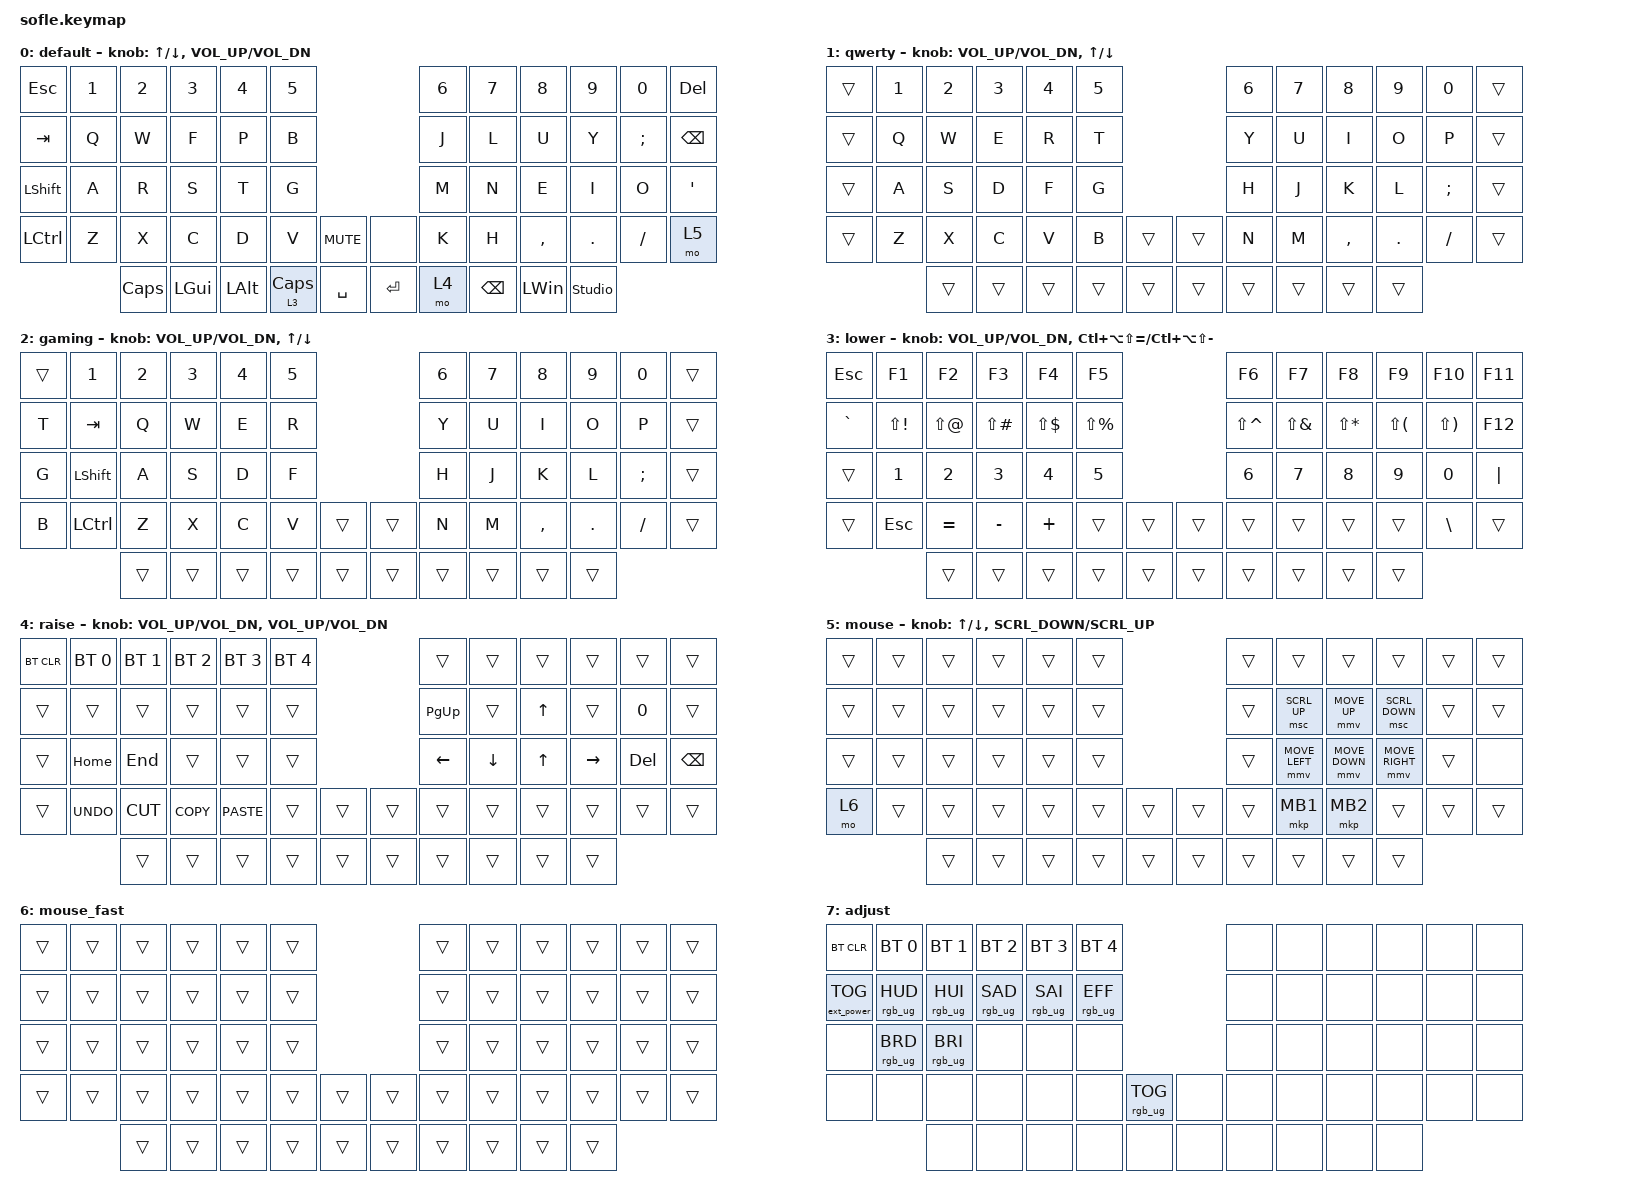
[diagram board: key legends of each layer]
/*
 * Copyright (c) 2020 The ZMK Contributors
 *
 * SPDX-License-Identifier: MIT
 */

#define ZMK_POINTING_DEFAULT_MOVE_VAL 900  // default: 600
#define ZMK_POINTING_DEFAULT_SCRL_VAL 1500    // default: 10 (If you enabled smooth scrolling then you will want to use the same MOVE_UP, MOVE_DOWN, etc values instead of the smaller SCRL_* parameters for more sensible scroll speeds.)

#include <input/processors.dtsi>
#include <behaviors.dtsi>
#include <dt-bindings/zmk/bt.h>
#include <dt-bindings/zmk/ext_power.h>
#include <dt-bindings/zmk/keys.h>
#include <dt-bindings/zmk/pointing.h>
#include <dt-bindings/zmk/rgb.h>

#define BASE 0
#define LOWER 1
#define RAISE 2
#define ADJUST 3

&mmv {
    acceleration-exponent = <0>;
    trigger-period-ms = <1>;
};

&msc {
    acceleration-exponent = <0>;
    trigger-period-ms = <1>;
    time-to-max-speed-ms = <1>;
};

&mmv_input_listener {
    mouse_move {
        layers = <5>;
        input-processors = <&zip_xy_scaler 3 1>;
        process-next;
    };
};

&sensors { triggers-per-rotation = <20>; };

&left_encoder { steps = <80>; };

/ {
    behaviors {
        raise_layer_holdtap_tog: raise_layer_holdtap_tog {
            compatible = "zmk,behavior-hold-tap";
            label = "RAISE_LAYER_HOLDTAP_TOG";
            bindings = <&mo>, <&tog>;

            #binding-cells = <2>;
            tapping-term-ms = <200>;
        };

        inc_dec_scroll: inc_dec_scroll {
            compatible = "zmk,behavior-sensor-rotate-var";
            label = "INC_DEC_SCROLL";
            #sensor-binding-cells = <2>;
            bindings = <&msc>, <&msc>;

            tap-ms = <10>;
        };
    };

    // Activate ADJUST layer by pressing raise and lower

    conditional_layers {
        compatible = "zmk,conditional-layers";

        adjust_layer {
            if-layers = <3 4>;
            then-layer = <7>;
        };
    };

    combos {
        compatible = "zmk,combos";

        qwerty_tog {
            bindings = <&tog 1>;
            key-positions = <3 4>;
        };

        underscore {
            bindings = <&kp UNDERSCORE>;
            key-positions = <15 14>;
            layers = <0>;
        };

        minus {
            bindings = <&kp MINUS>;
            key-positions = <26 27>;
            layers = <0>;
        };

        escape {
            bindings = <&kp ESCAPE>;
            key-positions = <13 14>;
            layers = <0>;
        };

        win_screenshot {
            bindings = <&kp LG(LS(S))>;
            key-positions = <37 38>;
            layers = <0>;
        };

        equals {
            bindings = <&kp EQUAL>;
            key-positions = <38 39>;
            layers = <0>;
        };

        backspace {
            bindings = <&kp BACKSPACE>;
            key-positions = <25 26>;
            layers = <0>;
        };

        l_parenthesis {
            bindings = <&kp LEFT_PARENTHESIS>;
            key-positions = <28 29>;
            layers = <0>;
        };

        l_brace {
            bindings = <&kp LEFT_BRACE>;
            key-positions = <16 17>;
            layers = <0>;
        };

        l_bracket {
            bindings = <&kp LEFT_BRACKET>;
            key-positions = <41 40>;
            layers = <0>;
        };

        r_parenthesis {
            bindings = <&kp RIGHT_PARENTHESIS>;
            key-positions = <31 30>;
            layers = <0>;
        };

        r_brace {
            bindings = <&kp RIGHT_BRACE>;
            key-positions = <19 18>;
            layers = <0>;
        };

        r_bracket {
            bindings = <&kp RIGHT_BRACKET>;
            key-positions = <45 44>;
            layers = <0>;
        };

        mouse {
            bindings = <&mo 5>;
            key-positions = <53 56>;
            slow-release;
            timeout-ms = <200>;
        };

        undo {
            bindings = <&kp LC(Z)>;
            key-positions = <40 39>;
            layers = <0>;
        };

        redo {
            bindings = <&kp LC(Y)>;
            key-positions = <40 39 38>;
            layers = <0>;
        };

        gaming_tog {
            bindings = <&tog 2>;
            key-positions = <2 3>;
        };
    };

    keymap {
        compatible = "zmk,keymap";

        default {
            display-name = "default";
            bindings = <
&kp ESCAPE        &kp NUMBER_1  &kp N2    &kp NUMBER_3  &kp NUMBER_4  &kp N5                                   &kp N6  &kp N7         &kp N8        &kp N9          &kp N0    &kp DELETE
&kp TAB           &kp Q         &kp W     &kp F         &kp P         &kp B                                    &kp J   &kp L          &kp U         &kp Y           &kp SEMI  &kp BSPC
&kp LEFT_SHIFT    &kp A         &kp R     &kp S         &kp T         &kp G                                    &kp M   &kp N          &kp E         &kp I           &kp O     &kp SQT
&kp LEFT_CONTROL  &kp Z         &kp X     &kp C         &kp D         &kp V           &kp C_MUTE    &none      &kp K   &kp H          &kp COMMA     &kp DOT         &kp FSLH  &mo 5
                                &kp CAPS  &kp LGUI      &kp LEFT_ALT  &lt 3 CAPSLOCK  &kp SPACE     &kp ENTER  &mo 4   &kp BACKSPACE  &kp LEFT_WIN  &studio_unlock
            >;

            sensor-bindings =
                <&inc_dec_kp UP_ARROW DOWN_ARROW>,
                <&inc_dec_kp C_VOL_UP C_VOL_DN>;
        };

        qwerty {
            display-name = "qwerty";

            // ------------------------------------------------------------------------------------------------------------
            // |   `   |  1  |  2  |  3   |  4   |  5   |                   |  6   |  7    |  8    |  9   |   0   |       |
            // |  ESC  |  Q  |  W  |  E   |  R   |  T   |                   |  Y   |  U    |  I    |  O   |   P   | BKSPC |
            // |  TAB  |  A  |  S  |  D   |  F   |  G   |                   |  H   |  J    |  K    |  L   |   ;   |   '   |
            // | SHIFT |  Z  |  X  |  C   |  V   |  B   |  MUTE  |  |       |  N   |  M    |  ,    |  .   |   /   | SHIFT |
            //               | GUI | ALT  | CTRL | LOWER|  ENTER |  | SPACE | RAISE| CTRL  | ALT   | GUI  |

            bindings = <
&trans  &kp N1  &kp N2  &kp N3  &kp N4  &kp N5                    &kp N6  &kp N7  &kp N8     &kp N9   &kp N0    &trans
&trans  &kp Q   &kp W   &kp E   &kp R   &kp T                     &kp Y   &kp U   &kp I      &kp O    &kp P     &trans
&trans  &kp A   &kp S   &kp D   &kp F   &kp G                     &kp H   &kp J   &kp K      &kp L    &kp SEMI  &trans
&trans  &kp Z   &kp X   &kp C   &kp V   &kp B   &trans    &trans  &kp N   &kp M   &kp COMMA  &kp DOT  &kp FSLH  &trans
                &trans  &trans  &trans  &trans  &trans    &trans  &trans  &trans  &trans     &trans
            >;

            sensor-bindings =
                <&inc_dec_kp C_VOL_UP C_VOL_DN>,
                <&inc_dec_kp UP_ARROW DOWN_ARROW>;
        };

        gaming {
            display-name = "gaming";
            bindings = <
&trans  &kp N1     &kp N2  &kp N3  &kp N4  &kp N5                    &kp N6  &kp N7  &kp N8     &kp N9   &kp N0    &trans
&kp T   &kp TAB    &kp Q   &kp W   &kp E   &kp R                     &kp Y   &kp U   &kp I      &kp O    &kp P     &trans
&kp G   &kp LSHFT  &kp A   &kp S   &kp D   &kp F                     &kp H   &kp J   &kp K      &kp L    &kp SEMI  &trans
&kp B   &kp LCTRL  &kp Z   &kp X   &kp C   &kp V   &trans    &trans  &kp N   &kp M   &kp COMMA  &kp DOT  &kp FSLH  &trans
                   &trans  &trans  &trans  &trans  &trans    &trans  &trans  &trans  &trans     &trans
            >;

            sensor-bindings =
                <&inc_dec_kp C_VOL_UP C_VOL_DN>,
                <&inc_dec_kp UP_ARROW DOWN_ARROW>;
        };

        lower_layer {
            display-name = "lower";

            // TODO: Some binds are waiting for shifted keycode support.
            // ------------------------------------------------------------------------------------------------------------
            // |       |  F1 |  F2 |  F3  |  F4  |  F5  |                   |  F6  |  F7   |  F8   |  F9  |  F10  |  F11  |
            // |   `   |  1  |  2  |  3   |  4   |  5   |                   |  6   |  7    |  8    |  9   |   0   |  F12  |
            // |       |  !  |  @  |  #   |  $   |  %   |                   |  ^   |  &    |  *    |  (   |   )   |   |   |
            // |       |  =  |  -  |  +   |  {   |  }   |        |  |       |  [   |  ]    |  ;    |  :   |   \   |       |
            //               |     |      |      |      |        |  |       |      |       |       |      |

            bindings = <
&kp ESC    &kp F1        &kp F2      &kp F3         &kp F4        &kp F5                           &kp F6         &kp F7        &kp F8        &kp F9        &kp F10       &kp F11
&kp GRAVE  &kp LS(EXCL)  &kp LS(AT)  &kp LS(POUND)  &kp LS(DLLR)  &kp LS(PRCNT)                    &kp LS(CARET)  &kp LS(AMPS)  &kp LS(STAR)  &kp LS(LPAR)  &kp LS(RPAR)  &kp F12
&trans     &kp N1        &kp N2      &kp NUMBER_3   &kp NUMBER_4  &kp N5                           &kp N6         &kp N7        &kp N8        &kp N9        &kp N0        &kp PIPE
&trans     &kp ESC       &kp EQUAL   &kp MINUS      &kp PLUS      &trans         &trans    &trans  &trans         &trans        &trans        &trans        &kp BSLH      &trans
                         &trans      &trans         &trans        &trans         &trans    &trans  &trans         &trans        &trans        &trans
            >;

            sensor-bindings =
                <&inc_dec_kp C_VOL_UP C_VOL_DN>,
                <&inc_dec_kp LC(LA(LS(EQUAL))) LC(LA(LS(MINUS)))>;
        };

        raise_layer {
            display-name = "raise";

            // ------------------------------------------------------------------------------------------------------------
            // | BTCLR | BT1  | BT2  |  BT3  |  BT4  |  BT5 |                |      |      |       |      |       |       |
            // |       | INS  | PSCR | GUI   |       |      |                | PGUP |      |   ^   |      |       |       |
            // |       | ALT  | CTRL | SHIFT |       | CAPS |                | PGDN |   <- |   v   |  ->  |  DEL  | BKSPC |
            // |       | UNDO | CUT  | COPY  | PASTE |      |      |  |      |      |      |       |      |       |       |
            //                |      |       |       |      |      |  |      |      |      |       |      |

            bindings = <
&bt BT_CLR  &bt BT_SEL 0  &bt BT_SEL 1  &bt BT_SEL 2  &bt BT_SEL 3  &bt BT_SEL 4                    &trans     &trans    &trans  &trans     &trans   &trans
&trans      &trans        &trans        &trans        &trans        &trans                          &kp PG_UP  &trans    &kp UP  &trans     &kp N0   &trans
&trans      &kp HOME      &kp END       &trans        &trans        &trans                          &kp LEFT   &kp DOWN  &kp UP  &kp RIGHT  &kp DEL  &kp BSPC
&trans      &kp K_UNDO    &kp K_CUT     &kp K_COPY    &kp K_PASTE   &trans        &trans    &trans  &trans     &trans    &trans  &trans     &trans   &trans
                          &trans        &trans        &trans        &trans        &trans    &trans  &trans     &trans    &trans  &trans
            >;

            sensor-bindings =
                <&inc_dec_kp C_VOL_UP C_VOL_DN>,
                <&inc_dec_kp C_VOL_UP C_VOL_DN>;
        };

        mouse {
            bindings = <
&trans  &trans  &trans  &trans  &trans  &trans                    &trans  &trans          &trans          &trans           &trans  &trans
&trans  &trans  &trans  &trans  &trans  &trans                    &trans  &msc SCRL_UP    &mmv MOVE_UP    &msc SCRL_DOWN   &trans  &trans
&trans  &trans  &trans  &trans  &trans  &trans                    &trans  &mmv MOVE_LEFT  &mmv MOVE_DOWN  &mmv MOVE_RIGHT  &trans  &none
&mo 6   &trans  &trans  &trans  &trans  &trans  &trans    &trans  &trans  &mkp MB1        &mkp MB2        &trans           &trans  &trans
                &trans  &trans  &trans  &trans  &trans    &trans  &trans  &trans          &trans          &trans
            >;

            sensor-bindings =
                <&inc_dec_kp UP_ARROW DOWN_ARROW>,
                <&inc_dec_scroll SCRL_DOWN SCRL_UP>;
        };

        mouse_fast {
            bindings = <
&trans  &trans  &trans  &trans  &trans  &trans                    &trans  &trans  &trans  &trans  &trans  &trans
&trans  &trans  &trans  &trans  &trans  &trans                    &trans  &trans  &trans  &trans  &trans  &trans
&trans  &trans  &trans  &trans  &trans  &trans                    &trans  &trans  &trans  &trans  &trans  &trans
&trans  &trans  &trans  &trans  &trans  &trans  &trans    &trans  &trans  &trans  &trans  &trans  &trans  &trans
                &trans  &trans  &trans  &trans  &trans    &trans  &trans  &trans  &trans  &trans
            >;
        };

        adjust_layer {
            // ----------------------------------------------------------------------------------------------------------------------------
            // | BTCLR  |  BT1    |  BT2    |   BT3   |   BT4   |   BT5   |                  |      |      |       |      |       |       |
            // | EXTPWR | RGB_HUD | RGB_HUI | RGB_SAD | RGB_SAI | RGB_EFF |                  |      |      |       |      |       |       |
            // |        | RGB_BRD | RGB_BRI |         |         |         |                  |      |      |       |      |       |       |
            // |        |         |         |         |         |         | RGB_TOG | |      |      |      |       |      |       |       |
            //                    |         |         |         |         |         | |      |      |      |       |      |

            display-name = "adjust";
            bindings = <
&bt BT_CLR         &bt BT_SEL 0     &bt BT_SEL 1     &bt BT_SEL 2     &bt BT_SEL 3     &bt BT_SEL 4                               &none  &none  &none  &none  &none  &none
&ext_power EP_TOG  &rgb_ug RGB_HUD  &rgb_ug RGB_HUI  &rgb_ug RGB_SAD  &rgb_ug RGB_SAI  &rgb_ug RGB_EFF                            &none  &none  &none  &none  &none  &none
&none              &rgb_ug RGB_BRD  &rgb_ug RGB_BRI  &none            &none            &none                                      &none  &none  &none  &none  &none  &none
&none              &none            &none            &none            &none            &none            &rgb_ug RGB_TOG    &none  &none  &none  &none  &none  &none  &none
                                    &none            &none            &none            &none            &none              &none  &none  &none  &none  &none
            >;
        };
    };
};
